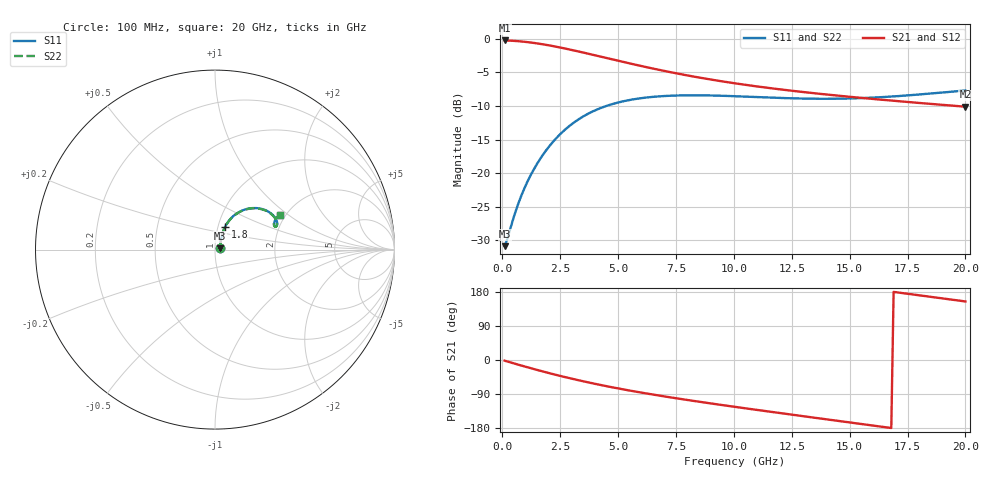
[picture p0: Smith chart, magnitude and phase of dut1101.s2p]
! Touchstone file exported from HFSS 2024.1.0
!  File:  C:/UserFiles/LocalFiles/RDL_TSV_Batchsim/temp_RDL_TSV_1101_1780100319.aedt
!  Generated:  08:31:19 AM May 30, 2026
!  Design:  RDL_TSV
!  Project:  temp_RDL_TSV_1101_1780100319
!  Setup:  Setup1
!  Solution:  Sweep
! Variables:
!  dtsv = 6.89um
!  hbump = 3um
!  htsv = 96.35um
!  ldown = 427.08um
!  lrdl = 333.96um
!  p = 40
!  p1 = 55.93um
!  rhole = 10um
!  subl = 2617.08um
!  t = 450um
!  tdown = 2.91um
!  trdl = 2.66um
!  viad = 10um
!  wdown = 15.85um
!  wrdl = 10.36um
!  xbump = 18um
# GHz S MA R 50.000000
! Terminal data exported
! Port[1] = TM1_1_T1
! Port[2] = TM1_4_T1
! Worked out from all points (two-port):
!   200 points, 100 MHz to 20 GHz, reference 50 ohm
!   highest |S21| = -0.24 dB at 100 MHz (marker M1); lowest = -10.1 dB at 20 GHz (marker M2)
!   |S21| within 3 dB of the highest: start of sweep to 4.977 GHz
!   lowest |S11| = -30.9 dB at 100 MHz (marker M3), VSWR 1.06, Z = 52.8 + j0.789 ohm
!   |S11| at or under -10 dB: start of sweep to 4.496 GHz
!   |S22| runs from -30.9 to -7.7 dB; largest |S21 - S12| = 5.5e-14
!   S11 on the Smith chart (normalised r, x): 100 MHz: 1.06, +0.02; 1.8 GHz: 1.08, +0.28; 20 GHz: 1.88, +0.87
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0.1  0.02856 15.1  0.9723 -1.8  0.9723 -1.8  0.02856 15.1
! Gamma 0 0 0 0
! Port Impedance 50 0 50 0
0.2  0.03171 27.9  0.9713 -3.6  0.9713 -3.6  0.03171 27.9
0.6  0.05344 54.0  0.9629 -10.8  0.9629 -10.8  0.05345 53.9
0.9  0.07322 61.4  0.9529 -16.0  0.9529 -16.0  0.07322 61.3
1.3  0.102 65.5  0.9352 -22.8  0.9352 -22.8  0.102 65.4
1.8  0.1405 66.1  0.9074 -31.1  0.9074 -31.1  0.1403 66.0
2.2  0.1718 64.7  0.882 -37.4  0.882 -37.4  0.1716 64.6
2.6  0.2025 62.3  0.8546 -43.5  0.8546 -43.5  0.2021 62.1
3  0.2315 59.3  0.8261 -49.3  0.8261 -49.3  0.231 59.2
3.5  0.2644 55.2  0.79 -56.3  0.79 -56.3  0.2637 55.1
4.2  0.3028 49.4  0.7403 -65.4  0.7403 -65.4  0.3019 49.3
5.1  0.3387 42.5  0.6805 -76.1  0.6805 -76.1  0.3375 42.4
5.9  0.3596 37.2  0.6328 -84.9  0.6328 -84.9  0.3582 37.0
6.8  0.3731 32.1  0.5858 -94.2  0.5858 -94.2  0.3715 32.0
8.3  0.3797 26.0  0.522 -108.3  0.522 -108.3  0.3779 25.8
10.1  0.3735 21.9  0.4647 -124.1  0.4647 -124.1  0.3715 21.7
11.7  0.3643 20.7  0.4264 -137.6  0.4264 -137.6  0.3622 20.7
13.4  0.358 21.6  0.3945 -151.6  0.3945 -151.6  0.3559 21.5
15  0.3595 23.5  0.3701 -164.8  0.3701 -164.8  0.3574 23.5
16.7  0.3706 25.8  0.348 -178.7  0.348 -178.7  0.3687 25.8
18.3  0.3887 27.3  0.3297 168.3  0.3297 168.3  0.3869 27.3
20  0.4123 27.8  0.3122 154.5  0.3122 154.5  0.4107 27.8
